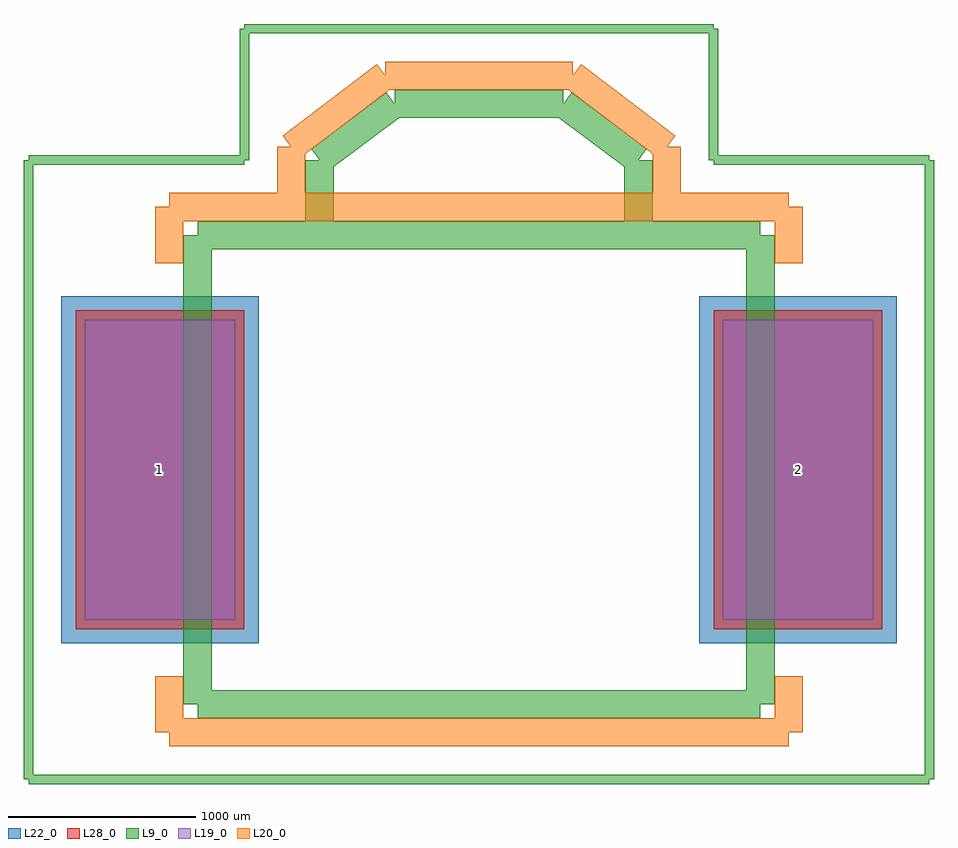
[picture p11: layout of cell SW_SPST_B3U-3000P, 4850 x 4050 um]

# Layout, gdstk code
import gdstk
lib = gdstk.Library(unit=1e-6, precision=1e-09)
def R(c, l, rs):  # rectangles x0, y0, x1, y1
    for r in rs: c.add(gdstk.rectangle(r[:2], r[2:], *l))
L9_0 = (9, 0)
L19_0 = (19, 0)
L20_0 = (20, 0)
L22_0 = (22, 0)
L28_0 = (28, 0)

sw_spst_b3u_3000p = lib.new_cell('SW_SPST_B3U-3000P')
R(sw_spst_b3u_3000p, L19_0, [(-2100,-800,-1300,800), (1300,-800,2100,800)])
R(sw_spst_b3u_3000p, L22_0, [(-2225,-925,-1175,925), (1175,-925,2225,925)])
R(sw_spst_b3u_3000p, L28_0, [(-2150,-850,-1250,850), (1250,-850,2150,850)])
sw_spst_b3u_3000p.add(gdstk.FlexPath([(-1500,-1250),(-1500,1250)], 149.998, ends="flush", simple_path=True, layer=9, datatype=0))  # L9_0
sw_spst_b3u_3000p.add(gdstk.FlexPath([(1500,-1250),(-1500,-1250)], 149.998, ends="flush", simple_path=True, layer=9, datatype=0))  # L9_0
sw_spst_b3u_3000p.add(gdstk.FlexPath([(1500,1250),(1500,-1250)], 149.998, ends="flush", simple_path=True, layer=9, datatype=0))  # L9_0
sw_spst_b3u_3000p.add(gdstk.FlexPath([(-1500,1250),(1500,1250)], 149.998, ends="flush", simple_path=True, layer=9, datatype=0))  # L9_0
sw_spst_b3u_3000p.add(gdstk.FlexPath([(1650,1400),(1650,1100)], 149.998, ends="flush", simple_path=True, layer=20, datatype=0))  # L20_0
sw_spst_b3u_3000p.add(gdstk.FlexPath([(-1650,1400),(1650,1400)], 149.998, ends="flush", simple_path=True, layer=20, datatype=0))  # L20_0
sw_spst_b3u_3000p.add(gdstk.FlexPath([(-1650,1100),(-1650,1400)], 149.998, ends="flush", simple_path=True, layer=20, datatype=0))  # L20_0
sw_spst_b3u_3000p.add(gdstk.FlexPath([(1650,-1400),(1650,-1100)], 149.998, ends="flush", simple_path=True, layer=20, datatype=0))  # L20_0
sw_spst_b3u_3000p.add(gdstk.FlexPath([(-1650,-1100),(-1650,-1400)], 149.998, ends="flush", simple_path=True, layer=20, datatype=0))  # L20_0
sw_spst_b3u_3000p.add(gdstk.FlexPath([(-2400,1650),(-2400,-1650)], 50, ends="flush", simple_path=True, layer=9, datatype=0))  # L9_0
sw_spst_b3u_3000p.add(gdstk.FlexPath([(-1250,1650),(-2400,1650)], 50, ends="flush", simple_path=True, layer=9, datatype=0))  # L9_0
sw_spst_b3u_3000p.add(gdstk.FlexPath([(2400,-1650),(2400,1650)], 50, ends="flush", simple_path=True, layer=9, datatype=0))  # L9_0
sw_spst_b3u_3000p.add(gdstk.FlexPath([(-2400,-1650),(2400,-1650)], 50, ends="flush", simple_path=True, layer=9, datatype=0))  # L9_0
sw_spst_b3u_3000p.add(gdstk.FlexPath([(-1650,-1400),(1650,-1400)], 149.998, ends="flush", simple_path=True, layer=20, datatype=0))  # L20_0
sw_spst_b3u_3000p.add(gdstk.FlexPath([(850,1650),(850,1250)], 149.998, ends="flush", simple_path=True, layer=9, datatype=0))  # L9_0
sw_spst_b3u_3000p.add(gdstk.FlexPath([(450,1950),(850,1650)], 149.998, ends="flush", simple_path=True, layer=9, datatype=0))  # L9_0
sw_spst_b3u_3000p.add(gdstk.FlexPath([(-450,1950),(450,1950)], 149.998, ends="flush", simple_path=True, layer=9, datatype=0))  # L9_0
sw_spst_b3u_3000p.add(gdstk.FlexPath([(-850,1650),(-450,1950)], 149.998, ends="flush", simple_path=True, layer=9, datatype=0))  # L9_0
sw_spst_b3u_3000p.add(gdstk.FlexPath([(-850,1250),(-850,1650)], 149.998, ends="flush", simple_path=True, layer=9, datatype=0))  # L9_0
sw_spst_b3u_3000p.add(gdstk.FlexPath([(1000,1720),(1000,1400)], 149.998, ends="flush", simple_path=True, layer=20, datatype=0))  # L20_0
sw_spst_b3u_3000p.add(gdstk.FlexPath([(500,2100),(1000,1720)], 149.998, ends="flush", simple_path=True, layer=20, datatype=0))  # L20_0
sw_spst_b3u_3000p.add(gdstk.FlexPath([(-500,2100),(500,2100)], 149.998, ends="flush", simple_path=True, layer=20, datatype=0))  # L20_0
sw_spst_b3u_3000p.add(gdstk.FlexPath([(-1000,1720),(-1000,1400)], 149.998, ends="flush", simple_path=True, layer=20, datatype=0))  # L20_0
sw_spst_b3u_3000p.add(gdstk.FlexPath([(-500,2100),(-1000,1720)], 149.998, ends="flush", simple_path=True, layer=20, datatype=0))  # L20_0
sw_spst_b3u_3000p.add(gdstk.FlexPath([(1250,1650),(2400,1650)], 50, ends="flush", simple_path=True, layer=9, datatype=0))  # L9_0
sw_spst_b3u_3000p.add(gdstk.FlexPath([(1250,2350),(1250,1650)], 50, ends="flush", simple_path=True, layer=9, datatype=0))  # L9_0
sw_spst_b3u_3000p.add(gdstk.FlexPath([(-1250,2350),(1250,2350)], 50, ends="flush", simple_path=True, layer=9, datatype=0))  # L9_0
sw_spst_b3u_3000p.add(gdstk.FlexPath([(-1250,1650),(-1250,2350)], 50, ends="flush", simple_path=True, layer=9, datatype=0))  # L9_0
sw_spst_b3u_3000p.add(gdstk.Label('2', (1700,0), layer=28, texttype=0))
sw_spst_b3u_3000p.add(gdstk.Label('1', (-1700,0), layer=28, texttype=0))
sw_spst_b3u_3000p.add(gdstk.Label('type', (0,-2500), layer=9, texttype=0))
sw_spst_b3u_3000p.add(gdstk.Label('devicename', (0,3250), layer=9, texttype=0))

lib.write_gds('SW_SPST_B3U-3000P.gds')
